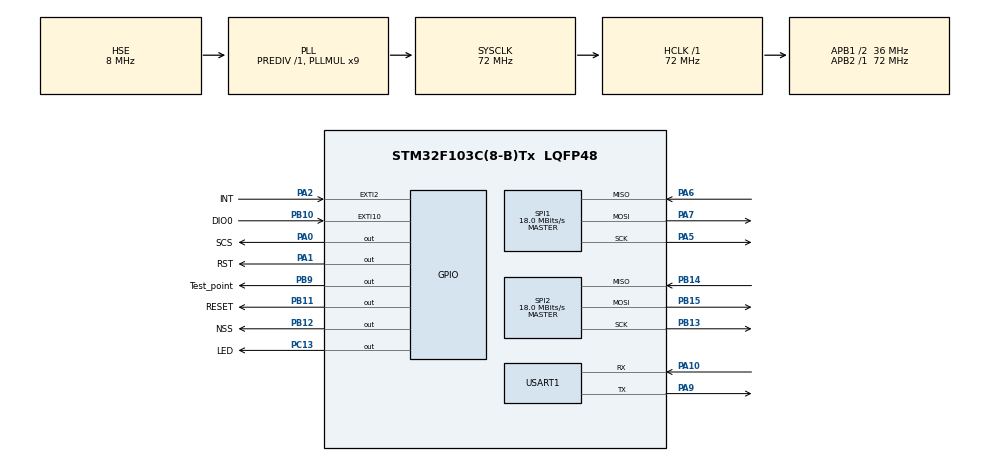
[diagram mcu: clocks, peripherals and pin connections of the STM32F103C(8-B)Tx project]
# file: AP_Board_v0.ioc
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Mcu.Family=STM32F1
Mcu.Name=STM32F103C(8-B)Tx
Mcu.Package=LQFP48
NVIC.EXTI15_10_IRQn=true\:0\:0\:false\:false\:true\:true\:true\:true
NVIC.EXTI2_IRQn=true\:0\:0\:false\:false\:true\:true\:true\:true
NVIC.PriorityGroup=NVIC_PRIORITYGROUP_4
NVIC.TIM1_UP_IRQn=true\:0\:0\:false\:false\:true\:true\:true\:true
NVIC.TIM2_IRQn=true\:0\:0\:false\:false\:true\:true\:true\:true
PA0-WKUP.GPIO_Label=SCS
PA0-WKUP.Signal=GPIO_Output
PA1.GPIO_Label=RST
PA1.Signal=GPIO_Output
PA10.Mode=Asynchronous
PA10.Signal=USART1_RX
PA13.Mode=Serial_Wire
PA13.Signal=SYS_JTMS-SWDIO
PA14.Mode=Serial_Wire
PA14.Signal=SYS_JTCK-SWCLK
PA2.GPIO_Label=INT
PA2.GPIO_ModeDefaultEXTI=GPIO_MODE_IT_RISING
PA2.Signal=GPXTI2
PA5.Mode=Full_Duplex_Master
PA5.Signal=SPI1_SCK
PA6.Mode=Full_Duplex_Master
PA6.Signal=SPI1_MISO
PA7.Mode=Full_Duplex_Master
PA7.Signal=SPI1_MOSI
PA9.Mode=Asynchronous
PA9.Signal=USART1_TX
PB10.GPIO_Label=DIO0
PB10.Signal=GPXTI10
PB11.GPIO_Label=RESET
PB11.Signal=GPIO_Output
PB12.GPIO_Label=NSS
PB12.Signal=GPIO_Output
PB13.Mode=Full_Duplex_Master
PB13.Signal=SPI2_SCK
PB14.Mode=Full_Duplex_Master
PB14.Signal=SPI2_MISO
PB15.Mode=Full_Duplex_Master
PB15.Signal=SPI2_MOSI
PB9.GPIO_Label=Test_point
PB9.GPIO_Speed=GPIO_SPEED_FREQ_HIGH
PB9.Signal=GPIO_Output
PC13-TAMPER-RTC.GPIO_Label=LED
PC13-TAMPER-RTC.Signal=GPIO_Output
PC14-OSC32_IN.Mode=LSE-External-Oscillator
PC14-OSC32_IN.Signal=RCC_OSC32_IN
PC15-OSC32_OUT.Mode=LSE-External-Oscillator
PC15-OSC32_OUT.Signal=RCC_OSC32_OUT
PD0-OSC_IN.Mode=HSE-External-Oscillator
PD0-OSC_IN.Signal=RCC_OSC_IN
PD1-OSC_OUT.Mode=HSE-External-Oscillator
PD1-OSC_OUT.Signal=RCC_OSC_OUT
ProjectManager.HeapSize=0x200
ProjectManager.StackSize=0x400
ProjectManager.TargetToolchain=MDK-ARM V5.32
RCC.AHBFreq_Value=72000000
RCC.APB1CLKDivider=RCC_HCLK_DIV2
RCC.APB1Freq_Value=36000000
RCC.APB1TimFreq_Value=72000000
RCC.APB2Freq_Value=72000000
RCC.APB2TimFreq_Value=72000000
RCC.HCLKFreq_Value=72000000
RCC.PLLMUL=RCC_PLL_MUL9
RCC.PLLSourceVirtual=RCC_PLLSOURCE_HSE
RCC.SYSCLKFreq_VALUE=72000000
RCC.SYSCLKSource=RCC_SYSCLKSOURCE_PLLCLK
RCC.USBFreq_Value=72000000
SPI1.BaudRatePrescaler=SPI_BAUDRATEPRESCALER_4
SPI1.CalculateBaudRate=18.0 MBits/s
SPI1.Direction=SPI_DIRECTION_2LINES
SPI1.Mode=SPI_MODE_MASTER
SPI1.VirtualType=VM_MASTER
SPI2.CalculateBaudRate=18.0 MBits/s
SPI2.Direction=SPI_DIRECTION_2LINES
SPI2.Mode=SPI_MODE_MASTER
SPI2.VirtualType=VM_MASTER
TIM1.Period=999
TIM1.Prescaler=71
TIM2.AutoReloadPreload=TIM_AUTORELOAD_PRELOAD_ENABLE
TIM2.Prescaler=71
USART1.VirtualMode=VM_ASYNC
VP_TIM1_VS_ClockSourceINT.Mode=Internal
VP_TIM2_VS_ClockSourceINT.Mode=Internal
board=custom

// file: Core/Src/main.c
/* USER CODE BEGIN Header */
/**
  ******************************************************************************
  * @file           : main.c
  * @brief          : Main program body
  ******************************************************************************
  * @attention
  *
  * Copyright (c) 2024 STMicroelectronics.
  * All rights reserved.
  *
  * This software is licensed under terms that can be found in the LICENSE file
  * in the root directory of this software component.
  * If no LICENSE file comes with this software, it is provided AS-IS.
  *
  ******************************************************************************
  */
/* USER CODE END Header */
#include "main.h"

/* USER CODE BEGIN Includes */
#include "socket.h"
#include "wizchip_conf.h"
#include "w5500.h"
#include "w5500_spi.h"
#include "data_process.h"

#include <stdarg.h>
#include <string.h>
#include <stdlib.h>
#include <stdio.h>

#include <Lora.h>
/* USER CODE END Includes */

SPI_HandleTypeDef hspi1;
SPI_HandleTypeDef hspi2;

TIM_HandleTypeDef htim1;
TIM_HandleTypeDef htim2;

UART_HandleTypeDef huart1;

/* USER CODE BEGIN PV */
	char TX_toPC[DATA_BUF_SIZE];
	char RX_fromPC[DATA_BUF_SIZE];

	char rx_buf[3];

	uint8_t des_ip[] = {192,168,1,100};
	uint16_t des_port = 1111;

	LoRa myLoRa;
	char TX_toRobot[DATA_BUF_SIZE];
	char RX_fromRobot[DATA_BUF_SIZE];
	int			RSSI;
	uint32_t k = 0;
	uint32_t ind = 0;

	uint8_t flag_rx = 0;
	uint8_t have_cmd = 0, cmd = 0;
	uint8_t res = 0;
	uint16_t flag_led = 0;
	uint16_t flag_check_sr = 0;
	uint16_t toggle = 0;

	uint32_t time_tick = 0;
	uint32_t start = 0, s=0;
	uint32_t end = 0, e=0;
	uint32_t time = 0, t=0;

	uint16_t result = 0;

//	uint16_t debug_PC[2000];
//	uint16_t debug_RB[2000];

	uint16_t PC = 0, RB = 0;

	uint16_t pointer_PC = 0;
	uint16_t pointer_RB = 0;

	uint16_t error_debug = 0;

	uint16_t num_receive = 0;
	uint16_t num_send = 0;

	uint32_t tick_while1 = 0;

	uint8_t MSG[10];

	uint16_t nhan_tu_PC = 0;
	uint16_t gui_den_RB = 0;
	uint16_t nhan_tu_RB = 0;
	uint16_t gui_den_PC = 0;
	uint16_t miss_mess = 0;

	uint8_t check_send_RB = 0;
	uint8_t check_receive_RB = 0;

	uint16_t so1 = 0;
	uint16_t so2 = 0;

	uint16_t cnt_flag_auto_send = 0;
	uint16_t flag_auto_send = 100;

	uint16_t frequency = 803;

	uint8_t flag_change_rf = 0;

/* USER CODE END PV */

void SystemClock_Config(void);
static void MX_GPIO_Init(void);
static void MX_SPI1_Init(void);
static void MX_USART1_UART_Init(void);
static void MX_TIM1_Init(void);
static void MX_SPI2_Init(void);
static void MX_TIM2_Init(void);

/* USER CODE BEGIN 0 */
	uint32_t getMicroS(void){
		return time_tick*65536 + __HAL_TIM_GetCounter(&htim2);
	}

	void my_printf(const char* format, ...) {
//    va_list args;
//    va_start(args, format);

//    char buffer[256];
//    vsnprintf(buffer, sizeof(buffer), format, args);

//    // Gui du lieu qua UART
//    //HAL_UART_Transmit(&huart1, (uint8_t*)buffer, strlen(buffer), HAL_MAX_DELAY);

//    va_end(args);
	}
	/*----------------------------------------------------*/
	void HAL_GPIO_EXTI_Callback(uint16_t GPIO_Pin) {
    if(GPIO_Pin == INT_Pin){
			//k++;
    }
		if(GPIO_Pin == myLoRa.DIO0_pin){
			//k++;
			flag_rx = 1;

		}
	}
	/*----------------------------------------------------*/
	void HAL_TIM_PeriodElapsedCallback(TIM_HandleTypeDef *htim)
	{
		/* Prevent unused argument(s) compilation warning */
		UNUSED(htim);

		if (htim->Instance == htim1.Instance){ 	// every 1ms
      flag_led++;
			flag_check_sr = 1;
			cnt_flag_auto_send++;

    }
		if (htim->Instance == htim2.Instance){ 	// every 1us
      time_tick++;
			HAL_GPIO_TogglePin(Test_point_GPIO_Port, Test_point_Pin);
    }
	}

/* USER CODE END 0 */

int main(void)
{

  /* MCU Configuration--------------------------------------------------------*/

  /* Reset of all peripherals, Initializes the Flash interface and the Systick. */
  HAL_Init();

  /* Configure the system clock */
  SystemClock_Config();

  /* Initialize all configured peripherals */
  MX_GPIO_Init();
  MX_SPI1_Init();
  MX_USART1_UART_Init();
  MX_TIM1_Init();
  MX_SPI2_Init();
  MX_TIM2_Init();
  /* USER CODE BEGIN 2 */
		memset(RX_fromPC, 0x00, DATA_BUF_SIZE);
		memset(TX_toPC, 0x00, DATA_BUF_SIZE);
		HAL_GPIO_WritePin(LED_GPIO_Port, LED_Pin, GPIO_PIN_RESET);

		/*********************************
		 *				Init for W5500
		 *********************************/
			w5500_Init();
			/*w5500_Config only use once when set IP and port*/
			//w5500_Config();

		/*----------------------------------------*/
		/***Make a Server and open a listening port***/
			//if(socket(1,Sn_MR_TCP, 1111, 0) != 1){
//////			if(socket(1,Sn_MR_UDP, 1111, 0) != 1){
//////				my_printf("\r\n Cannot create socket!");
//////				toggle = 2000;
//////			}
//////			else{
//////				toggle = 1000;
//////				my_printf("\r\nSocket Created Successdully!\r\n");
//////				uint8_t socket_io_mode =SOCK_IO_BLOCK;
//////				ctlsocket(1,CS_SET_IOMODE,&socket_io_mode);
//////				my_printf("Start listening on port %d \r\n",100);
//////				my_printf("Waiting for a client connection... \r\n");
//////			}
//////			uint8_t sr = 0x00;

		/**********************************
		 *				Init for LoRa
		 **********************************/
			Lora_Init(&myLoRa, &hspi2, frequency);
			LoRa_reset(&myLoRa);
			result = LoRa_Config(&myLoRa);
			/*Start continuous receiving*/
			LoRa_startReceiving(&myLoRa);

		memset(TX_toRobot, 0x00, DATA_BUF_SIZE);
		memset(RX_fromRobot, 0x00, DATA_BUF_SIZE);

		HAL_TIM_Base_Start_IT(&htim1);
		HAL_TIM_Base_Start_IT(&htim2);

			memset(MSG, 0x00, 20);

  /* USER CODE END 2 */

  /* Infinite loop */
  while (1)
  {

    /* USER CODE BEGIN 3 */

		tick_while1++;

		if(gui_den_RB == 10){
			gui_den_RB = 0;
			if(++frequency >= 930)	frequency = 803;
			flag_change_rf = 1;

		}

		if(flag_change_rf == 1){
			Lora_Init(&myLoRa, &hspi2, frequency);
			LoRa_reset(&myLoRa);
			result = LoRa_Config(&myLoRa);
			/*Start continuous receiving*/
			LoRa_startReceiving(&myLoRa);
			HAL_Delay(10);
			flag_change_rf = 0;
		}

//			sr = getSn_SR(1);		//16us
//			if(sr == 0x00)		// do not have any client
//				toggle = 1000;
//
//
//			if(sr == 0x22){				// 0x17 if TCP, 0x22 if UDP						->have client
//				toggle = 100;		// have a client
//
//				/*Receiving request/commmed from PC and transmit to robot*/
//				have_cmd = recv_udp(1, (uint8_t *)RX_fromPC, DATA_BUF_SIZE, des_ip, &des_port); 		//UDP		//35us
//
//
//				if(have_cmd){
//					have_cmd = 0;
//
//					nhan_tu_PC++;
//
//					for(uint8_t index = 0; index < DATA_BUF_SIZE; index++){
//						TX_toRobot[index] = RX_fromPC[index];
//					}
//
//					if(RX_fromPC[1] == 0x01){
//						sprintf((char*)MSG, "PC 1\n");
//						so1++;
//					}
//					else if(RX_fromPC[1] == 0x02){
//						sprintf((char*)MSG, "PC 2\n");
//						so2++;
//					}
//					else if(RX_fromPC[1] == 0x03){
//						sprintf((char*)MSG, "PC 3\n");
//					}
//					HAL_UART_Transmit(&huart1, MSG, 10, HAL_MAX_DELAY);
//
//					check_send_RB =	LoRa_transmit(&myLoRa, (uint8_t*)TX_toRobot, DATA_BUF_SIZE, 1000);		// 0028s
//					if(check_send_RB)
//						gui_den_RB++;
//					}
//
//				}
//				else;
//
//		/*_______________________________________________________________________________*/
			/*Receiving response from robot and transmit to PC*/
			if(flag_rx == 1){
				flag_rx = 0;

				check_receive_RB = LoRa_receive(&myLoRa, (uint8_t*)RX_fromRobot, DATA_BUF_SIZE);		//400us
				if(check_receive_RB == 0x0C){
					nhan_tu_RB++;
					time = getMicroS() - start;
				}

				for(uint8_t index = 0; index < DATA_BUF_SIZE; index++){
					TX_toPC[index] = RX_fromRobot[index];
				}

				//sendto(1, (uint8_t *)TX_toPC, DATA_BUF_SIZE, des_ip, des_port);		//UDP		290us
				gui_den_PC++;

			}
		/*_______________________________________________________________________________*/
			if(flag_led >= toggle){
				flag_led = 0;
				HAL_GPIO_TogglePin(LED_GPIO_Port, LED_Pin);
//				if(listen(1) != SOCK_OK)
//				{
//					//my_printf("Cannot listen on port! %d", 1000);
//					toggle = 1000;
//				}
			}

			/*_______________________________USE FOR TEST________________________________________________*/
			if(cnt_flag_auto_send >= flag_auto_send)
			//if(cnt_flag_auto_send == 1)
			{
				cnt_flag_auto_send = 0;
				memset(TX_toRobot, 0x00, DATA_BUF_SIZE);

				TX_toRobot[0] = frequency % 256;

				for(uint8_t i=1; i< DATA_BUF_SIZE-1; i++){
					TX_toRobot[i] = rand() % 100;
					TX_toRobot[DATA_BUF_SIZE-1] += TX_toRobot[i];
				}

				start = getMicroS();
				s = getMicroS();

				check_send_RB =	LoRa_transmit(&myLoRa, (uint8_t*)TX_toRobot, DATA_BUF_SIZE, 1000);		// 0028s

				t = getMicroS() - s;

				if(check_send_RB)
						gui_den_RB++;

				miss_mess = gui_den_RB - nhan_tu_RB;
			}

  }
  /* USER CODE END 3 */
}

void SystemClock_Config(void)
{
  RCC_OscInitTypeDef RCC_OscInitStruct = {0};
  RCC_ClkInitTypeDef RCC_ClkInitStruct = {0};

  /** Initializes the RCC Oscillators according to the specified parameters
  * in the RCC_OscInitTypeDef structure.
  */
  RCC_OscInitStruct.OscillatorType = RCC_OSCILLATORTYPE_HSE;
  RCC_OscInitStruct.HSEState = RCC_HSE_ON;
  RCC_OscInitStruct.HSEPredivValue = RCC_HSE_PREDIV_DIV1;
  RCC_OscInitStruct.HSIState = RCC_HSI_ON;
  RCC_OscInitStruct.PLL.PLLState = RCC_PLL_ON;
  RCC_OscInitStruct.PLL.PLLSource = RCC_PLLSOURCE_HSE;
  RCC_OscInitStruct.PLL.PLLMUL = RCC_PLL_MUL9;
  if (HAL_RCC_OscConfig(&RCC_OscInitStruct) != HAL_OK)
  {
    Error_Handler();
  }

  /** Initializes the CPU, AHB and APB buses clocks
  */
  RCC_ClkInitStruct.ClockType = RCC_CLOCKTYPE_HCLK|RCC_CLOCKTYPE_SYSCLK
                              |RCC_CLOCKTYPE_PCLK1|RCC_CLOCKTYPE_PCLK2;
  RCC_ClkInitStruct.SYSCLKSource = RCC_SYSCLKSOURCE_PLLCLK;
  RCC_ClkInitStruct.AHBCLKDivider = RCC_SYSCLK_DIV1;
  RCC_ClkInitStruct.APB1CLKDivider = RCC_HCLK_DIV2;
  RCC_ClkInitStruct.APB2CLKDivider = RCC_HCLK_DIV1;

  if (HAL_RCC_ClockConfig(&RCC_ClkInitStruct, FLASH_LATENCY_2) != HAL_OK)
  {
    Error_Handler();
  }
}

static void MX_SPI1_Init(void)
{

  /* SPI1 parameter configuration*/
  hspi1.Instance = SPI1;
  hspi1.Init.Mode = SPI_MODE_MASTER;
  hspi1.Init.Direction = SPI_DIRECTION_2LINES;
  hspi1.Init.DataSize = SPI_DATASIZE_8BIT;
  hspi1.Init.CLKPolarity = SPI_POLARITY_LOW;
  hspi1.Init.CLKPhase = SPI_PHASE_1EDGE;
  hspi1.Init.NSS = SPI_NSS_SOFT;
  hspi1.Init.BaudRatePrescaler = SPI_BAUDRATEPRESCALER_4;
  hspi1.Init.FirstBit = SPI_FIRSTBIT_MSB;
  hspi1.Init.TIMode = SPI_TIMODE_DISABLE;
  hspi1.Init.CRCCalculation = SPI_CRCCALCULATION_DISABLE;
  hspi1.Init.CRCPolynomial = 10;
  if (HAL_SPI_Init(&hspi1) != HAL_OK)
  {
    Error_Handler();
  }

}

static void MX_SPI2_Init(void)
{

  /* SPI2 parameter configuration*/
  hspi2.Instance = SPI2;
  hspi2.Init.Mode = SPI_MODE_MASTER;
  hspi2.Init.Direction = SPI_DIRECTION_2LINES;
  hspi2.Init.DataSize = SPI_DATASIZE_8BIT;
  hspi2.Init.CLKPolarity = SPI_POLARITY_LOW;
  hspi2.Init.CLKPhase = SPI_PHASE_1EDGE;
  hspi2.Init.NSS = SPI_NSS_SOFT;
  hspi2.Init.BaudRatePrescaler = SPI_BAUDRATEPRESCALER_2;
  hspi2.Init.FirstBit = SPI_FIRSTBIT_MSB;
  hspi2.Init.TIMode = SPI_TIMODE_DISABLE;
  hspi2.Init.CRCCalculation = SPI_CRCCALCULATION_DISABLE;
  hspi2.Init.CRCPolynomial = 10;
  if (HAL_SPI_Init(&hspi2) != HAL_OK)
  {
    Error_Handler();
  }

}

static void MX_TIM1_Init(void)
{

  TIM_ClockConfigTypeDef sClockSourceConfig = {0};
  TIM_MasterConfigTypeDef sMasterConfig = {0};

  htim1.Instance = TIM1;
  htim1.Init.Prescaler = 71;
  htim1.Init.CounterMode = TIM_COUNTERMODE_UP;
  htim1.Init.Period = 999;
  htim1.Init.ClockDivision = TIM_CLOCKDIVISION_DIV1;
  htim1.Init.RepetitionCounter = 0;
  htim1.Init.AutoReloadPreload = TIM_AUTORELOAD_PRELOAD_DISABLE;
  if (HAL_TIM_Base_Init(&htim1) != HAL_OK)
  {
    Error_Handler();
  }
  sClockSourceConfig.ClockSource = TIM_CLOCKSOURCE_INTERNAL;
  if (HAL_TIM_ConfigClockSource(&htim1, &sClockSourceConfig) != HAL_OK)
  {
    Error_Handler();
  }
  sMasterConfig.MasterOutputTrigger = TIM_TRGO_RESET;
  sMasterConfig.MasterSlaveMode = TIM_MASTERSLAVEMODE_DISABLE;
  if (HAL_TIMEx_MasterConfigSynchronization(&htim1, &sMasterConfig) != HAL_OK)
  {
    Error_Handler();
  }

}

static void MX_TIM2_Init(void)
{

  TIM_ClockConfigTypeDef sClockSourceConfig = {0};
  TIM_MasterConfigTypeDef sMasterConfig = {0};

  htim2.Instance = TIM2;
  htim2.Init.Prescaler = 71;
  htim2.Init.CounterMode = TIM_COUNTERMODE_UP;
  htim2.Init.Period = 65535;
  htim2.Init.ClockDivision = TIM_CLOCKDIVISION_DIV1;
  htim2.Init.AutoReloadPreload = TIM_AUTORELOAD_PRELOAD_ENABLE;
  if (HAL_TIM_Base_Init(&htim2) != HAL_OK)
  {
    Error_Handler();
  }
  sClockSourceConfig.ClockSource = TIM_CLOCKSOURCE_INTERNAL;
  if (HAL_TIM_ConfigClockSource(&htim2, &sClockSourceConfig) != HAL_OK)
  {
    Error_Handler();
  }
  sMasterConfig.MasterOutputTrigger = TIM_TRGO_RESET;
  sMasterConfig.MasterSlaveMode = TIM_MASTERSLAVEMODE_DISABLE;
  if (HAL_TIMEx_MasterConfigSynchronization(&htim2, &sMasterConfig) != HAL_OK)
  {
    Error_Handler();
  }

}

static void MX_USART1_UART_Init(void)
{

  huart1.Instance = USART1;
  huart1.Init.BaudRate = 115200;
  huart1.Init.WordLength = UART_WORDLENGTH_8B;
  huart1.Init.StopBits = UART_STOPBITS_1;
  huart1.Init.Parity = UART_PARITY_NONE;
  huart1.Init.Mode = UART_MODE_TX_RX;
  huart1.Init.HwFlowCtl = UART_HWCONTROL_NONE;
  huart1.Init.OverSampling = UART_OVERSAMPLING_16;
  if (HAL_UART_Init(&huart1) != HAL_OK)
  {
    Error_Handler();
  }

}

static void MX_GPIO_Init(void)
{
  GPIO_InitTypeDef GPIO_InitStruct = {0};

  /* GPIO Ports Clock Enable */
  __HAL_RCC_GPIOC_CLK_ENABLE();
  __HAL_RCC_GPIOD_CLK_ENABLE();
  __HAL_RCC_GPIOA_CLK_ENABLE();
  __HAL_RCC_GPIOB_CLK_ENABLE();

  /*Configure GPIO pin Output Level */
  HAL_GPIO_WritePin(LED_GPIO_Port, LED_Pin, GPIO_PIN_RESET);

  /*Configure GPIO pin Output Level */
  HAL_GPIO_WritePin(GPIOA, SCS_Pin|RST_Pin, GPIO_PIN_RESET);

  /*Configure GPIO pin Output Level */
  HAL_GPIO_WritePin(GPIOB, RESET_Pin|NSS_Pin|Test_point_Pin, GPIO_PIN_RESET);

  /*Configure GPIO pin : LED_Pin */
  GPIO_InitStruct.Pin = LED_Pin;
  GPIO_InitStruct.Mode = GPIO_MODE_OUTPUT_PP;
  GPIO_InitStruct.Pull = GPIO_NOPULL;
  GPIO_InitStruct.Speed = GPIO_SPEED_FREQ_LOW;
  HAL_GPIO_Init(LED_GPIO_Port, &GPIO_InitStruct);

  /*Configure GPIO pins : SCS_Pin RST_Pin */
  GPIO_InitStruct.Pin = SCS_Pin|RST_Pin;
  GPIO_InitStruct.Mode = GPIO_MODE_OUTPUT_PP;
  GPIO_InitStruct.Pull = GPIO_NOPULL;
  GPIO_InitStruct.Speed = GPIO_SPEED_FREQ_LOW;
  HAL_GPIO_Init(GPIOA, &GPIO_InitStruct);

  /*Configure GPIO pin : INT_Pin */
  GPIO_InitStruct.Pin = INT_Pin;
  GPIO_InitStruct.Mode = GPIO_MODE_IT_RISING;
  GPIO_InitStruct.Pull = GPIO_NOPULL;
  HAL_GPIO_Init(INT_GPIO_Port, &GPIO_InitStruct);

  /*Configure GPIO pin : DIO0_Pin */
  GPIO_InitStruct.Pin = DIO0_Pin;
  GPIO_InitStruct.Mode = GPIO_MODE_IT_RISING;
  GPIO_InitStruct.Pull = GPIO_NOPULL;
  HAL_GPIO_Init(DIO0_GPIO_Port, &GPIO_InitStruct);

  /*Configure GPIO pins : RESET_Pin NSS_Pin */
  GPIO_InitStruct.Pin = RESET_Pin|NSS_Pin;
  GPIO_InitStruct.Mode = GPIO_MODE_OUTPUT_PP;
  GPIO_InitStruct.Pull = GPIO_NOPULL;
  GPIO_InitStruct.Speed = GPIO_SPEED_FREQ_LOW;
  HAL_GPIO_Init(GPIOB, &GPIO_InitStruct);

  /*Configure GPIO pin : Test_point_Pin */
  GPIO_InitStruct.Pin = Test_point_Pin;
  GPIO_InitStruct.Mode = GPIO_MODE_OUTPUT_PP;
  GPIO_InitStruct.Pull = GPIO_NOPULL;
  GPIO_InitStruct.Speed = GPIO_SPEED_FREQ_HIGH;
  HAL_GPIO_Init(Test_point_GPIO_Port, &GPIO_InitStruct);

  /* EXTI interrupt init*/
  HAL_NVIC_SetPriority(EXTI2_IRQn, 0, 0);
  HAL_NVIC_EnableIRQ(EXTI2_IRQn);

  HAL_NVIC_SetPriority(EXTI15_10_IRQn, 0, 0);
  HAL_NVIC_EnableIRQ(EXTI15_10_IRQn);

}

void Error_Handler(void)
{
  __disable_irq();
  while (1)
  {
  }
}
